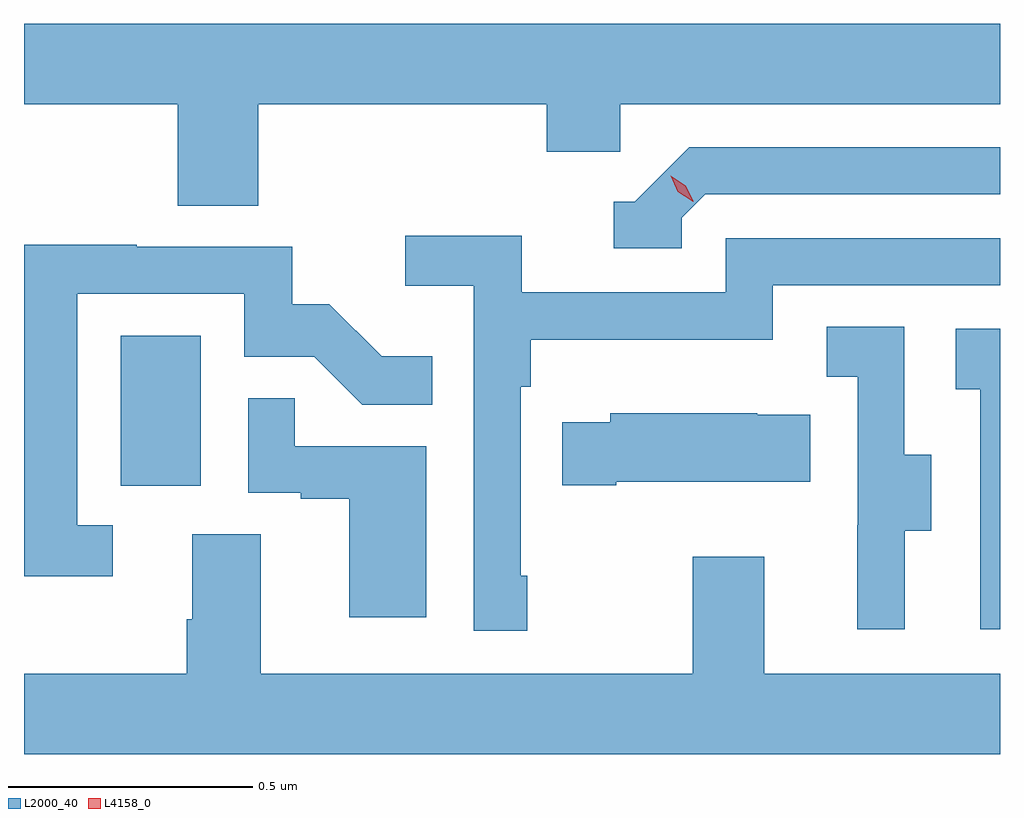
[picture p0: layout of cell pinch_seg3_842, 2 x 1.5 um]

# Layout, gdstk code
import gdstk
lib = gdstk.Library(unit=1e-6, precision=1e-09)
def R(c, l, rs):  # rectangles x0, y0, x1, y1
    for r in rs: c.add(gdstk.rectangle(r[:2], r[2:], *l))
def P(c, l, *ps):  # polygons
    for p in ps: c.add(gdstk.Polygon(p, *l))
L2000_40 = (2000, 40)
L4158_0 = (4158, 0)

pinch_seg3_842 = lib.new_cell('pinch_seg3_842')
R(pinch_seg3_842, L2000_40, [(856.628,718.782,856.792,719.089)])
P(pinch_seg3_842, L2000_40, [(856.91,719.564),(857.501,719.564),(857.501,719.466),(857.652,719.466),(857.652,719.564),(858.43,719.564),(858.43,719.728),(856.43,719.728),(856.43,719.564),(856.745,719.564),(856.745,719.356),(856.91,719.356)],
  [(857.778,719.331),(857.826,719.379),(858.43,719.379),(858.43,719.475),(857.793,719.475),(857.682,719.364),(857.639,719.364),(857.639,719.268),(857.778,719.268)],
  [(857.461,718.597),(857.448,718.597),(857.448,718.985),(857.468,718.985),(857.468,719.081),(857.964,719.081),(857.964,719.193),(858.43,719.193),(858.43,719.289),(857.868,719.289),(857.868,719.178),(857.45,719.178),(857.45,719.294),(857.211,719.294),(857.211,719.192),(857.352,719.192),(857.352,718.485),(857.461,718.485)],
  [(856.612,718.701),(856.539,718.701),(856.539,719.175),(856.881,719.175),(856.881,719.046),(857.025,719.046),(857.123,718.948),(857.267,718.948),(857.267,719.047),(857.163,719.047),(857.056,719.154),(856.98,719.154),(856.98,719.271),(856.661,719.271),(856.661,719.276),(856.43,719.276),(856.43,718.596),(856.612,718.596)],
  [(858.235,718.69),(858.289,718.69),(858.289,718.845),(858.234,718.845),(858.234,719.108),(858.075,719.108),(858.075,719.005),(858.138,719.005),(858.138,718.701),(858.137,718.701),(858.137,718.488),(858.235,718.488)],
  [(858.43,719.103),(858.339,719.103),(858.339,718.979),(858.39,718.979),(858.39,718.488),(858.43,718.488)],
  [(857.254,718.863),(856.985,718.863),(856.985,718.961),(856.89,718.961),(856.89,718.767),(856.997,718.767),(856.997,718.755),(857.096,718.755),(857.096,718.512),(857.254,718.512)],
  [(857.644,718.79),(858.041,718.79),(858.041,718.927),(857.933,718.927),(857.933,718.93),(857.631,718.93),(857.631,718.912),(857.533,718.912),(857.533,718.783),(857.644,718.783)],
  [(858.43,718.396),(857.947,718.396),(857.947,718.636),(857.8,718.636),(857.8,718.396),(856.915,718.396),(856.915,718.682),(856.775,718.682),(856.775,718.508),(856.763,718.508),(856.763,718.396),(856.43,718.396),(856.43,718.232),(858.43,718.232)])
P(pinch_seg3_842, L4158_0, [(857.801,719.364),(857.77,719.384),(857.755,719.417),(857.755,719.417),(857.755,719.417),(857.786,719.397),(857.801,719.365),(857.801,719.364)])

lib.write_gds('pinch_seg3_842.gds')
